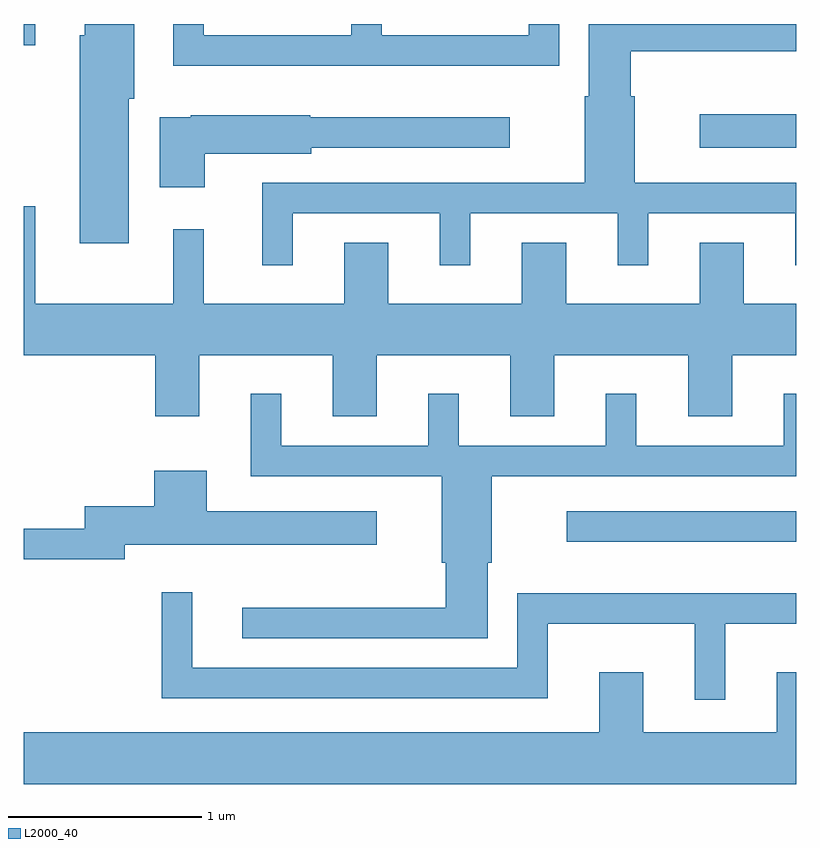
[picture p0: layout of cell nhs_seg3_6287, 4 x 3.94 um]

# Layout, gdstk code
import gdstk
lib = gdstk.Library(unit=1e-6, precision=1e-09)
def R(c, l, rs):  # rectangles x0, y0, x1, y1
    for r in rs: c.add(gdstk.rectangle(r[:2], r[2:], *l))
def P(c, l, *ps):  # polygons
    for p in ps: c.add(gdstk.Polygon(p, *l))
L2000_40 = (2000, 40)

nhs_seg3_6287 = lib.new_cell('nhs_seg3_6287')
R(nhs_seg3_6287, L2000_40, [(372.423,1187.211,373.611,1187.369), (373.111,1189.251,373.611,1189.424), (369.611,1189.781,369.669,1189.892)])
P(nhs_seg3_6287, L2000_40, [(372.384,1189.892),(372.226,1189.892),(372.226,1189.834),(371.464,1189.834),(371.464,1189.892),(371.306,1189.892),(371.306,1189.834),(370.544,1189.834),(370.544,1189.892),(370.386,1189.892),(370.386,1189.676),(372.384,1189.676)],
  [(370.154,1189.506),(370.184,1189.506),(370.184,1189.892),(369.926,1189.892),(369.926,1189.834),(369.901,1189.834),(369.901,1188.756),(370.154,1188.756)],
  [(371.004,1188.911),(371.766,1188.911),(371.766,1188.643),(371.924,1188.643),(371.924,1188.911),(372.686,1188.911),(372.686,1188.643),(372.844,1188.643),(372.844,1188.911),(373.606,1188.911),(373.606,1188.643),(373.611,1188.643),(373.611,1189.069),(372.774,1189.069),(372.774,1189.519),(372.754,1189.519),(372.754,1189.751),(373.611,1189.751),(373.611,1189.892),(372.536,1189.892),(372.536,1189.519),(372.516,1189.519),(372.516,1189.069),(370.846,1189.069),(370.846,1188.643),(371.004,1188.643)],
  [(370.549,1189.221),(371.099,1189.221),(371.099,1189.251),(372.128,1189.251),(372.128,1189.409),(371.095,1189.409),(371.095,1189.419),(370.475,1189.419),(370.475,1189.409),(370.316,1189.409),(370.316,1189.046),(370.549,1189.046)],
  [(370.519,1188.176),(371.211,1188.176),(371.211,1187.861),(371.439,1187.861),(371.439,1188.176),(372.131,1188.176),(372.131,1187.861),(372.359,1187.861),(372.359,1188.176),(373.051,1188.176),(373.051,1187.861),(373.279,1187.861),(373.279,1188.176),(373.611,1188.176),(373.611,1188.444),(373.339,1188.444),(373.339,1188.759),(373.111,1188.759),(373.111,1188.444),(372.419,1188.444),(372.419,1188.759),(372.191,1188.759),(372.191,1188.444),(371.499,1188.444),(371.499,1188.759),(371.271,1188.759),(371.271,1188.444),(370.544,1188.444),(370.544,1188.828),(370.386,1188.828),(370.386,1188.444),(369.669,1188.444),(369.669,1188.949),(369.611,1188.949),(369.611,1188.176),(370.291,1188.176),(370.291,1187.861),(370.519,1187.861)],
  [(372.014,1187.101),(372.034,1187.101),(372.034,1187.551),(373.611,1187.551),(373.611,1187.978),(373.546,1187.978),(373.546,1187.709),(372.784,1187.709),(372.784,1187.978),(372.626,1187.978),(372.626,1187.709),(371.864,1187.709),(371.864,1187.978),(371.706,1187.978),(371.706,1187.709),(370.944,1187.709),(370.944,1187.978),(370.786,1187.978),(370.786,1187.551),(371.776,1187.551),(371.776,1187.101),(371.796,1187.101),(371.796,1186.869),(370.743,1186.869),(370.743,1186.711),(372.014,1186.711)],
  [(370.134,1187.196),(371.439,1187.196),(371.439,1187.369),(370.559,1187.369),(370.559,1187.579),(370.286,1187.579),(370.286,1187.394),(369.926,1187.394),(369.926,1187.279),(369.611,1187.279),(369.611,1187.121),(370.134,1187.121)],
  [(373.244,1186.786),(373.611,1186.786),(373.611,1186.944),(372.166,1186.944),(372.166,1186.559),(370.484,1186.559),(370.484,1186.948),(370.326,1186.948),(370.326,1186.401),(372.324,1186.401),(372.324,1186.786),(373.086,1186.786),(373.086,1186.393),(373.244,1186.393)],
  [(373.611,1186.534),(373.511,1186.534),(373.511,1186.224),(372.819,1186.224),(372.819,1186.534),(372.591,1186.534),(372.591,1186.224),(369.611,1186.224),(369.611,1185.956),(373.611,1185.956)])

lib.write_gds('nhs_seg3_6287.gds')
